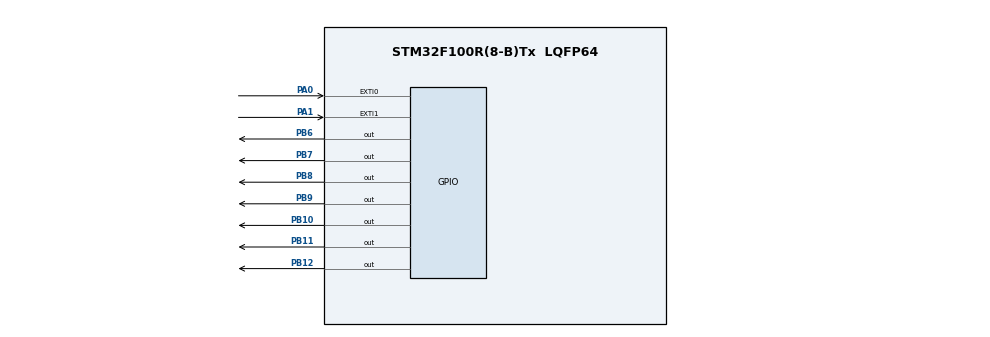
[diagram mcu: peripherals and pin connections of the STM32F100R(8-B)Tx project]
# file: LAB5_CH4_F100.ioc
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Mcu.Family=STM32F1
Mcu.Name=STM32F100R(8-B)Tx
Mcu.Package=LQFP64
NVIC.EXTI0_IRQn=true\:0\:0\:false\:false\:true\:true\:true
NVIC.EXTI1_IRQn=true\:0\:0\:false\:false\:true\:true\:true
NVIC.PriorityGroup=NVIC_PRIORITYGROUP_4
NVIC.TIM1_UP_TIM16_IRQn=true\:0\:0\:false\:false\:true\:true\:true
PA0-WKUP.GPIO_ModeDefaultEXTI=GPIO_MODE_IT_FALLING
PA0-WKUP.GPIO_PuPd=GPIO_PULLUP
PA0-WKUP.Signal=GPXTI0
PA1.GPIO_ModeDefaultEXTI=GPIO_MODE_IT_FALLING
PA1.GPIO_PuPd=GPIO_PULLUP
PA1.Signal=GPXTI1
PA13.Mode=Serial_Wire
PA13.Signal=SYS_JTMS-SWDIO
PA14.Mode=Serial_Wire
PA14.Signal=SYS_JTCK-SWCLK
PB10.GPIO_Speed=GPIO_SPEED_FREQ_MEDIUM
PB10.Signal=GPIO_Output
PB11.GPIO_Speed=GPIO_SPEED_FREQ_MEDIUM
PB11.Signal=GPIO_Output
PB12.GPIO_Speed=GPIO_SPEED_FREQ_MEDIUM
PB12.Signal=GPIO_Output
PB6.GPIO_Speed=GPIO_SPEED_FREQ_MEDIUM
PB6.Signal=GPIO_Output
PB7.GPIO_Speed=GPIO_SPEED_FREQ_MEDIUM
PB7.Signal=GPIO_Output
PB8.GPIO_Speed=GPIO_SPEED_FREQ_MEDIUM
PB8.Signal=GPIO_Output
PB9.GPIO_Speed=GPIO_SPEED_FREQ_MEDIUM
PB9.Signal=GPIO_Output
PD0-OSC_IN.Mode=HSE-External-Oscillator
PD0-OSC_IN.Signal=RCC_OSC_IN
PD1-OSC_OUT.Mode=HSE-External-Oscillator
PD1-OSC_OUT.Signal=RCC_OSC_OUT
ProjectManager.HeapSize=0x200
ProjectManager.StackSize=0x400
ProjectManager.TargetToolchain=EWARM V8
RCC.APB1Freq_Value=8000000
RCC.APB2Freq_Value=8000000
TIM1.Period=1000
TIM1.Prescaler=7999
VP_TIM1_VS_ClockSourceINT.Mode=Internal
VP_TIM1_VS_ClockSourceITR.Mode=TriggerSource_ITR0
board=custom

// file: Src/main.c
/* USER CODE BEGIN Header */
/**
  ******************************************************************************
  * @file           : main.c
  * @brief          : Main program body
  ******************************************************************************
  * @attention
  *
  * <h2><center>&copy; Copyright (c) 2019 STMicroelectronics.
  * All rights reserved.</center></h2>
  *
  * This software component is licensed by ST under BSD 3-Clause license,
  * the "License"; You may not use this file except in compliance with the
  * License. You may obtain a copy of the License at:
  *                        opensource.org/licenses/BSD-3-Clause
  *
  ******************************************************************************
  */
/* USER CODE END Header */

#include "main.h"

/* USER CODE BEGIN Includes */
#include "hd44780.h"
/* USER CODE END Includes */

void SystemClock_Config(void);
static void MX_GPIO_Init(void);
static void MX_TIM1_Init(void);

/* USER CODE BEGIN 0 */
unsigned char men1[FONT_HEIGHT] = {0x0e,0x0e,0x04,0x1f,0x04,0x1a,0x01,0x00};
/* USER CODE END 0 */

int main(void)
{

  /* MCU Configuration--------------------------------------------------------*/

  /* Reset of all peripherals, Initializes the Flash interface and the Systick. */
  HAL_Init();

  /* Configure the system clock */
  SystemClock_Config();

  /* Initialize all configured peripherals */
  MX_GPIO_Init();
  MX_TIM1_Init();
  /* USER CODE BEGIN 2 */
//SystemInit();

	lcdInit();
	lcdClrScr();
	//lcdLoadChar(smile,0x06);//??????????? ???????????????? ?????? ?? ?????????? ??????
	lcdLoadChar(men1,6);

	lcdGoto(1,0);//? ?????? ??????
	lcdPuts("Morozov");//?????? ???????
	lcdGoto(2,0);//?? ?????? ??????
	lcdPuts("Syrotuk");//?????? ???????
	lcdGoto(3,0);//? ?????? ??????
	lcdPuts("UrakanOFF");//?????? ???????

	lcdGoto(4,15);//? ? ????????? ?????? ??????
	lcdPutc(0x06);//??????? ?????? ???
        LL_TIM_EnableIT_UPDATE(TIM1);
   LL_TIM_EnableCounter(TIM1);
  /* USER CODE END 2 */

  /* Infinite loop */
  while (1)
  {

  }
}

void SystemClock_Config(void)
{
  LL_RCC_HSI_SetCalibTrimming(16);
  LL_RCC_HSI_Enable();

   /* Wait till HSI is ready */
  while(LL_RCC_HSI_IsReady() != 1)
  {

  }
  LL_RCC_SetAHBPrescaler(LL_RCC_SYSCLK_DIV_1);
  LL_RCC_SetAPB1Prescaler(LL_RCC_APB1_DIV_1);
  LL_RCC_SetAPB2Prescaler(LL_RCC_APB2_DIV_1);
  LL_RCC_SetSysClkSource(LL_RCC_SYS_CLKSOURCE_HSI);

   /* Wait till System clock is ready */
  while(LL_RCC_GetSysClkSource() != LL_RCC_SYS_CLKSOURCE_STATUS_HSI)
  {

  }
  LL_Init1msTick(8000000);
  LL_SYSTICK_SetClkSource(LL_SYSTICK_CLKSOURCE_HCLK);
  LL_SetSystemCoreClock(8000000);
}

static void MX_TIM1_Init(void)
{

  LL_TIM_InitTypeDef TIM_InitStruct = {0};

  /* Peripheral clock enable */
  LL_APB2_GRP1_EnableClock(LL_APB2_GRP1_PERIPH_TIM1);

  /* TIM1 interrupt Init */
  NVIC_SetPriority(TIM1_UP_TIM16_IRQn, NVIC_EncodePriority(NVIC_GetPriorityGrouping(),0, 0));
  NVIC_EnableIRQ(TIM1_UP_TIM16_IRQn);

  TIM_InitStruct.Prescaler = 7999;
  TIM_InitStruct.CounterMode = LL_TIM_COUNTERMODE_UP;
  TIM_InitStruct.Autoreload = 1000;
  TIM_InitStruct.ClockDivision = LL_TIM_CLOCKDIVISION_DIV1;
  TIM_InitStruct.RepetitionCounter = 0;
  LL_TIM_Init(TIM1, &TIM_InitStruct);
  LL_TIM_DisableARRPreload(TIM1);
  LL_TIM_SetClockSource(TIM1, LL_TIM_CLOCKSOURCE_INTERNAL);
  LL_TIM_SetTriggerInput(TIM1, LL_TIM_TS_ITR0);
  LL_TIM_SetSlaveMode(TIM1, LL_TIM_SLAVEMODE_DISABLED);
  LL_TIM_DisableIT_TRIG(TIM1);
  LL_TIM_DisableDMAReq_TRIG(TIM1);
  LL_TIM_SetTriggerOutput(TIM1, LL_TIM_TRGO_RESET);
  LL_TIM_DisableMasterSlaveMode(TIM1);

}

static void MX_GPIO_Init(void)
{
  GPIO_InitTypeDef GPIO_InitStruct = {0};

  /* GPIO Ports Clock Enable */
  __HAL_RCC_GPIOD_CLK_ENABLE();
  __HAL_RCC_GPIOA_CLK_ENABLE();
  __HAL_RCC_GPIOB_CLK_ENABLE();

  /*Configure GPIO pin Output Level */
  HAL_GPIO_WritePin(GPIOB, GPIO_PIN_10|GPIO_PIN_11|GPIO_PIN_12|GPIO_PIN_6
                          |GPIO_PIN_7|GPIO_PIN_8|GPIO_PIN_9, GPIO_PIN_RESET);

  /*Configure GPIO pins : PA0 PA1 */
  GPIO_InitStruct.Pin = GPIO_PIN_0|GPIO_PIN_1;
  GPIO_InitStruct.Mode = GPIO_MODE_IT_FALLING;
  GPIO_InitStruct.Pull = GPIO_PULLUP;
  HAL_GPIO_Init(GPIOA, &GPIO_InitStruct);

  /*Configure GPIO pins : PB10 PB11 PB12 PB6
                           PB7 PB8 PB9 */
  GPIO_InitStruct.Pin = GPIO_PIN_10|GPIO_PIN_11|GPIO_PIN_12|GPIO_PIN_6
                          |GPIO_PIN_7|GPIO_PIN_8|GPIO_PIN_9;
  GPIO_InitStruct.Mode = GPIO_MODE_OUTPUT_PP;
  GPIO_InitStruct.Pull = GPIO_NOPULL;
  GPIO_InitStruct.Speed = GPIO_SPEED_FREQ_MEDIUM;
  HAL_GPIO_Init(GPIOB, &GPIO_InitStruct);

  /* EXTI interrupt init*/
  HAL_NVIC_SetPriority(EXTI0_IRQn, 0, 0);
  HAL_NVIC_EnableIRQ(EXTI0_IRQn);

  HAL_NVIC_SetPriority(EXTI1_IRQn, 0, 0);
  HAL_NVIC_EnableIRQ(EXTI1_IRQn);

}

void Error_Handler(void)
{
}

/************************ (C) COPYRIGHT STMicroelectronics *****END OF FILE****/
